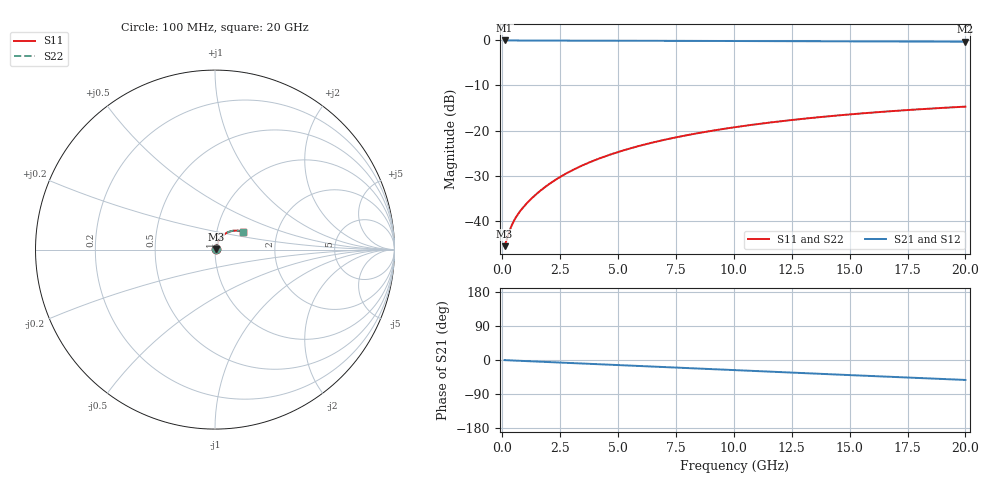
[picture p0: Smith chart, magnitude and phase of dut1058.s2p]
! Touchstone file exported from HFSS 2026.1.0
!  File:  C:/ffzhzh/LocalFiles/Ansys_Project_Files/temp_train_BSMRDL_1058_1783174070_18472.aedt
!  Generated:  10:08:58 PM Jul  4, 2026
!  Design:  BSMRDL
!  Project:  temp_train_BSMRDL_1058_1783174070_18472
! Variables:
!  h_bsmrdl = 2.5um
!  h_ox = 20um
!  h_rdl = 5um
!  h_sub = 80um
!  h_tmrdl = 5um
!  h_tsv = 80um
!  h_via = 3um
!  l_bsmrdl = 904.84um
!  l_sub = 1304.84um
!  l_tmrdl = 200um
!  m_sub = 200um
!  pitch = 36.1um
!  r_tsv = 6um
!  s_tmrdl = 10um
!  w_bsmrdl = 27.83um
!  w_sub = 500um
!  w_tmrdl = 12um
!  x_tsv_center1 = 206um
!  x_tsv_center2 = 1138.67um
!  x_tsv_center3 = 1350.67um
!  x_tsv_center4 = 2283.34um
!  x_tsv_center5 = 2495.34um
!  x_tsv_center6 = 3428.01um
# GHz S MA R 50.000000
! Terminal data exported
! Port[1] = BSM_RDL1_1_T1
! Port[2] = BSM_RDL1_1_T2
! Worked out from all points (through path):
!   200 points, 100 MHz to 20 GHz, reference 50 ohm
!   highest |S21| = -0.04 dB at 100 MHz (marker M1); lowest = -0.3 dB at 20 GHz (marker M2)
!   group delay of S21, straight-line fit = 7.3 ps
!   lowest |S11| = -45.5 dB at 100 MHz (marker M3), VSWR 1.01, Z = 50.5 + j0.184 ohm
!   |S11| at or under -10 dB: start of sweep to end of sweep
!   |S22| runs from -45.5 to -14.7 dB; largest |S21 - S12| = 3.7e-15
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0.1  0.005289 20.2  0.995 -0.3  0.995 -0.3  0.005289 20.2
! Gamma 0 0 0 0
! Port Impedance 50 0 50 0
0.3  0.007668 40.5  0.9942 -0.9  0.9942 -0.9  0.007668 40.5
0.4  0.008913 44.7  0.9938 -1.2  0.9938 -1.2  0.008913 44.7
0.5  0.01007 47.6  0.9934 -1.5  0.9934 -1.5  0.01007 47.6
0.6  0.01115 49.9  0.993 -1.7  0.993 -1.7  0.01115 49.9
0.8  0.01319 53.6  0.9925 -2.3  0.9925 -2.3  0.01319 53.6
1.1  0.01616 57.9  0.9921 -3.1  0.9921 -3.1  0.01616 57.9
1.3  0.01817 60.2  0.9919 -3.6  0.9919 -3.6  0.01817 60.2
1.6  0.02124 62.8  0.9916 -4.4  0.9916 -4.4  0.02124 62.8
2.2  0.02759 66.0  0.9912 -6.0  0.9912 -6.0  0.0276 66.0
2.8  0.0341 67.5  0.9907 -7.6  0.9907 -7.6  0.0341 67.5
3.5  0.04177 68.0  0.9901 -9.5  0.9901 -9.5  0.04177 68.0
4.2  0.04943 67.6  0.9894 -11.4  0.9894 -11.4  0.04944 67.7
5  0.05812 66.7  0.9885 -13.5  0.9885 -13.5  0.05814 66.7
5.9  0.06777 65.3  0.9873 -15.9  0.9873 -15.9  0.06778 65.3
6.8  0.07722 63.5  0.986 -18.3  0.986 -18.3  0.07723 63.6
8.3  0.09246 60.3  0.9837 -22.3  0.9837 -22.3  0.09249 60.3
10.1  0.1098 56.1  0.9807 -27.1  0.9807 -27.1  0.1099 56.2
11.7  0.1244 52.3  0.9779 -31.3  0.9779 -31.3  0.1244 52.3
13.4  0.1388 48.2  0.9749 -35.7  0.9749 -35.7  0.1389 48.2
16.7  0.1638 40.1  0.9692 -44.2  0.9692 -44.2  0.1639 40.1
20  0.1846 32.1  0.964 -52.6  0.964 -52.6  0.1847 32.1
